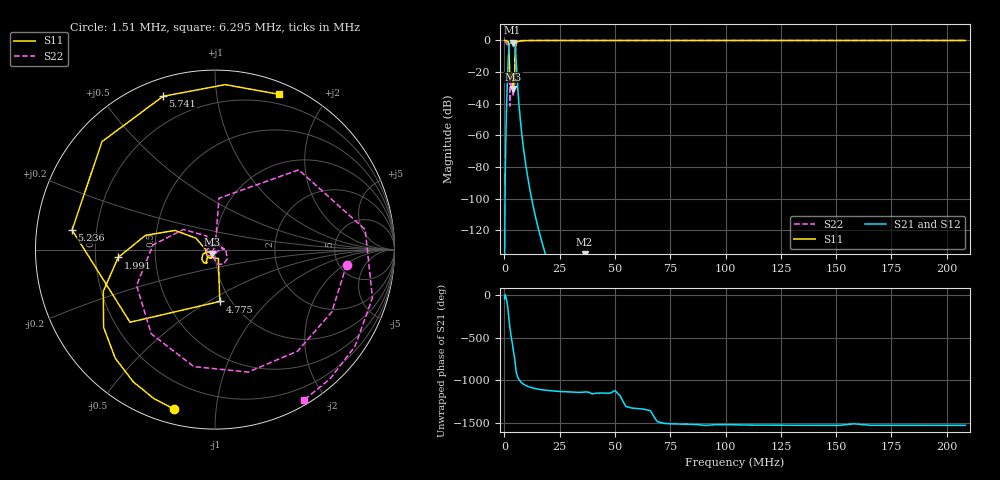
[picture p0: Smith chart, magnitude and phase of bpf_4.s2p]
! NeoRadio BPF 4: 2.5-4.5 MHz, selected in the bank
! generated_by 859cd57
# HZ S RI R 50
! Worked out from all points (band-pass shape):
!   182 points, 50 kHz to 208.4 MHz, reference 50 ohm
!   highest |S21| = -1.34 dB at 3.622 MHz (marker M1); lowest = -196.7 dB at 36.22 MHz (marker M2)
!   |S21| within 3 dB of the highest: 2.029 MHz to 4.875 MHz (2.846 MHz wide, 82.4 % of centre)
!   lowest |S11| = -30.6 dB at 3.972 MHz (marker M3), VSWR 1.06, Z = 48.3 - j2.31 ohm
!   |S11| at or under -10 dB: 2.131 MHz to 4.8 MHz (2.669 MHz wide, 77 % of centre)
!   |S22| runs from -41.4 to 0.0 dB; largest |S21 - S12| = 0
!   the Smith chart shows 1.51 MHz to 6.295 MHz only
!   S11 on the Smith chart (normalised r, x): 1.51 MHz: 0.07, -0.77; 1.991 MHz: 0.30, -0.04; 4.775 MHz: 0.89, -0.56; 5.236 MHz: 0.11, +0.07; 5.741 MHz: 0.08, +0.71; 6.295 MHz: 0.11, +1.48
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50000  0.9988 -0.0488  1.31e-08 -1.56e-08  1.31e-08 -1.56e-08  0.9762 -0.21
208434.7  0.9785 -0.2025  5.42e-06 -1.32e-08  5.42e-06 -1.32e-08  0.6259 -0.7484
397164.1  0.9216 -0.381  0.00011 -7.75e-06  0.00011 -7.75e-06  -0.0527 -0.9231
829793.5  0.6496 -0.7427  0.00278 -0.00323  0.00278 -0.00323  -0.7916 0.096
1199416  0.2433 -0.9342  -0.00642 -0.0317  -0.00642 -0.0317  0.0875 0.7281
1509976  -0.2267 -0.8896  -0.1176 -0.0479  -0.1176 -0.0479  0.7333 -0.0844
1990536  -0.5396 -0.0435  0.0301 0.5684  0.0301 0.5684  -0.4368 -0.2
2393150  -0.0524 0.00118  0.7872 -0.1883  0.7872 -0.1883  -0.007 0.00478
2877200  -0.0468 -0.0679  -0.1902 -0.8253  -0.1902 -0.8253  -0.0153 0.0221
3303467  -0.0625 -0.0731  -0.8451 -0.1318  -0.8451 -0.1318  0.0685 -0.052
3622180  -0.068 -0.026  -0.6545 0.553  -0.6545 0.553  0.0162 -0.0822
3971641  -0.0172 -0.0239  0.0753 0.8503  0.0753 0.8503  0.00549 -0.016
4354818  -0.0381 -0.0428  0.7848 0.2874  0.7848 0.2874  0.0527 0.00145
4774963  0.0267 -0.289  0.265 -0.6745  0.265 -0.6745  0.0222 0.2862
5235643  -0.7963 0.1093  -0.2415 -0.0489  -0.2415 -0.0489  0.8368 0.1118
5740768  -0.2895 0.854  -0.0417 0.0406  -0.0417 0.0406  0.7794 -0.54
6294627  0.3539 0.8656  -0.00314 0.0155  -0.00314 0.0155  0.4973 -0.837
9527304  0.86 -0.484  0.00012 4.95e-05  0.00012 4.95e-05  -0.3891 -0.9165
1.315134e7  0.3262 -0.9405  4.95e-06 -8.72e-07  4.95e-06 -8.72e-07  -0.6896 -0.7209
3.62218e7  -0.7603 -0.6468  8.5e-11 -1.2e-10  8.5e-11 -1.2e-10  -0.9588 -0.2773
5.235643e7  -0.8813 -0.4687  -3.32e-12 -1.48e-11  -3.32e-12 -1.48e-11  -0.9793 -0.1926
2.084347e8  -0.9904 -0.1236  8.7e-17 -7.93e-16  8.7e-17 -7.93e-16  -0.9969 -0.0485
